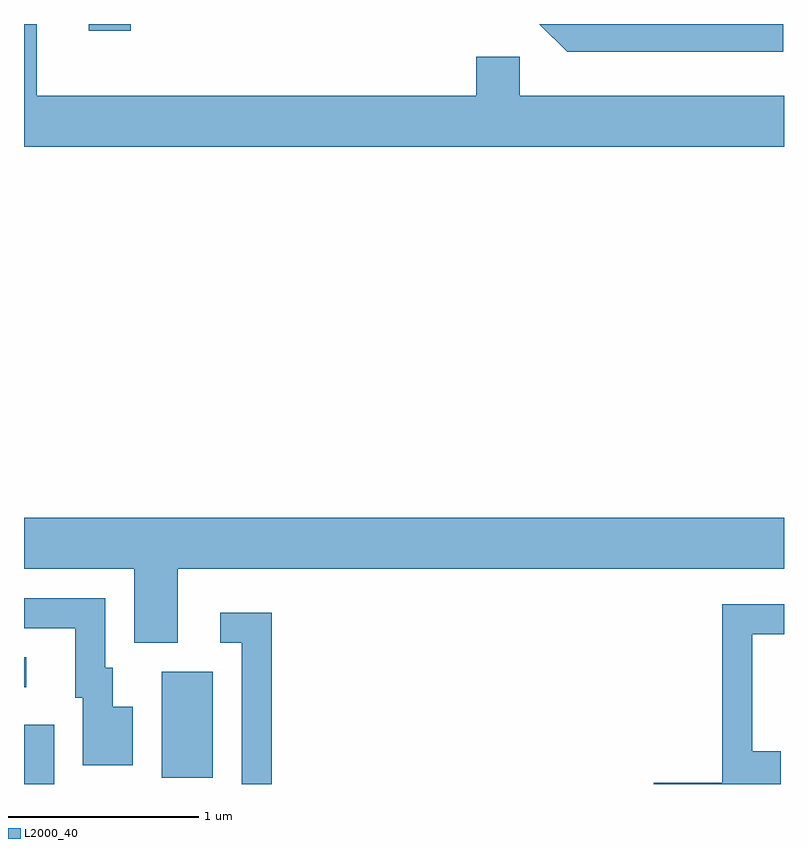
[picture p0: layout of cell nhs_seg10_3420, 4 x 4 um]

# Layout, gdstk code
import gdstk
lib = gdstk.Library(unit=1e-6, precision=1e-09)
def R(c, l, rs):  # rectangles x0, y0, x1, y1
    for r in rs: c.add(gdstk.rectangle(r[:2], r[2:], *l))
def P(c, l, *ps):  # polygons
    for p in ps: c.add(gdstk.Polygon(p, *l))
L2000_40 = (2000, 40)

nhs_seg10_3420 = lib.new_cell('nhs_seg10_3420')
R(nhs_seg10_3420, L2000_40, [(285.611,2150.522,285.769,2150.833), (286.336,2150.556,286.604,2151.114), (285.611,2151.031,285.623,2151.189), (285.951,2154.486,286.174,2154.522)])
P(nhs_seg10_3420, L2000_40, [(289.611,2154.144),(288.219,2154.144),(288.219,2154.349),(287.991,2154.349),(287.991,2154.144),(285.679,2154.144),(285.679,2154.522),(285.611,2154.522),(285.611,2153.876),(289.611,2153.876)],
  [(289.608,2154.522),(288.323,2154.522),(288.469,2154.376),(289.608,2154.376)],
  [(286.419,2151.656),(289.611,2151.656),(289.611,2151.924),(285.611,2151.924),(285.611,2151.656),(286.191,2151.656),(286.191,2151.266),(286.419,2151.266)],
  [(286.184,2150.929),(286.079,2150.929),(286.079,2151.134),(286.039,2151.134),(286.039,2151.499),(285.611,2151.499),(285.611,2151.341),(285.881,2151.341),(285.881,2150.976),(285.921,2150.976),(285.921,2150.621),(286.184,2150.621)],
  [(289.594,2150.694),(289.444,2150.694),(289.444,2151.311),(289.611,2151.311),(289.611,2151.469),(289.286,2151.469),(289.286,2150.529),(288.926,2150.529),(288.926,2150.522),(289.594,2150.522)],
  [(286.914,2151.424),(286.643,2151.424),(286.643,2151.266),(286.756,2151.266),(286.756,2150.522),(286.914,2150.522)])

lib.write_gds('nhs_seg10_3420.gds')
